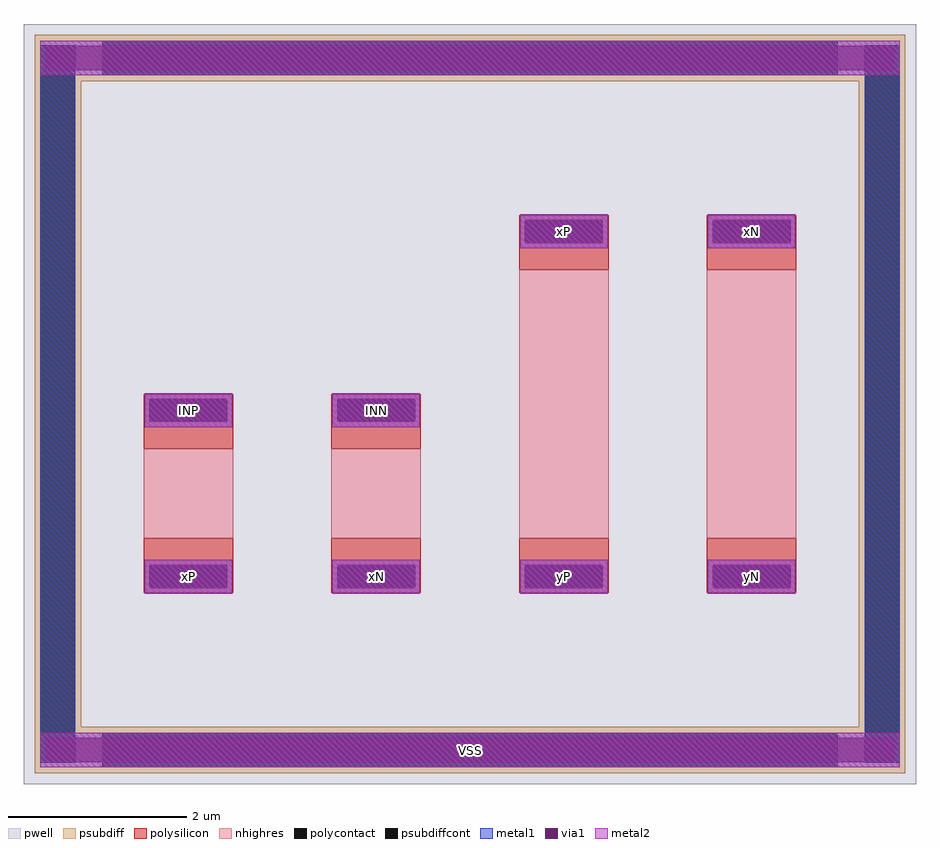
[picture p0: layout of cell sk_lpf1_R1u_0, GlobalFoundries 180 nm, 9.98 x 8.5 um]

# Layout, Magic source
magic
tech gf180mcuD
magscale 1 10
<< pwell >>
rect -368 -464 1628 1236
<< psubdiff >>
rect -344 -440 1604 -336
rect -344 1108 1604 1212
rect -344 -336 -240 1108
rect 1500 -336 1604 1108
<< polysilicon >>
rect -100 286 100 408
rect -100 -36 100 86
rect 320 286 520 408
rect 320 -36 520 86
rect 740 686 940 808
rect 740 -36 940 86
rect 1160 686 1360 808
rect 1160 -36 1360 86
<< nhighres >>
rect -100 86 100 286
rect 320 86 520 286
rect 740 86 940 686
rect 1160 86 1360 686
<< psubdiffcont >>
rect -331 -416 -253 1188
rect 1513 -416 1591 1188
rect -193 1121 1453 1199
rect -193 -427 1453 -349
<< polycontact >>
rect -87 349 87 395
rect -87 -23 87 23
rect 333 349 507 395
rect 333 -23 507 23
rect 753 749 927 795
rect 753 -23 927 23
rect 1173 749 1347 795
rect 1173 -23 1347 23
<< metal1 >>
rect -98 349 98 395
rect -98 -23 98 23
rect 322 349 518 395
rect 322 -23 518 23
rect 742 749 938 795
rect 742 -23 938 23
rect 1162 749 1358 795
rect 1162 -23 1358 23
rect -98 -38 98 38
rect -98 334 98 410
rect 322 -38 518 38
rect 322 334 518 410
rect 742 -38 938 38
rect 742 734 938 810
rect 1162 -38 1358 38
rect 1162 734 1358 810
rect -331 -427 1591 -349
rect -331 1121 1591 1199
rect -331 -427 -253 1199
rect 1513 -427 1591 1199
rect -331 -427 1591 -349
rect -331 1121 1591 1199
<< metal2 >>
rect -98 -38 98 38
rect -98 334 98 410
rect 322 -38 518 38
rect 322 334 518 410
rect 742 -38 938 38
rect 742 734 938 810
rect 1162 -38 1358 38
rect 1162 734 1358 810
rect -331 -427 1591 -349
rect -331 1121 1591 1199
<< via1 >>
rect -86 -26 86 26
rect -86 346 86 398
rect 334 -26 506 26
rect 334 346 506 398
rect 754 -26 926 26
rect 754 746 926 798
rect 1174 -26 1346 26
rect 1174 746 1346 798
rect -319 -415 1579 -361
rect -319 1133 1579 1187
<< labels >>
flabel metal2 s -98 -38 98 38 0 FreeSans 80 0 0 0 xP
port 1 nsew signal bidirectional
flabel metal2 s -98 334 98 410 0 FreeSans 80 0 0 0 INP
port 2 nsew signal bidirectional
flabel metal2 s 322 -38 518 38 0 FreeSans 80 0 0 0 xN
port 3 nsew signal bidirectional
flabel metal2 s 322 334 518 410 0 FreeSans 80 0 0 0 INN
port 4 nsew signal bidirectional
flabel metal2 s 742 -38 938 38 0 FreeSans 80 0 0 0 yP
port 5 nsew signal bidirectional
flabel metal2 s 742 734 938 810 0 FreeSans 80 0 0 0 xP
port 1 nsew signal bidirectional
flabel metal2 s 1162 -38 1358 38 0 FreeSans 80 0 0 0 yN
port 6 nsew signal bidirectional
flabel metal2 s 1162 734 1358 810 0 FreeSans 80 0 0 0 xN
port 3 nsew signal bidirectional
flabel metal2 s -331 -427 1591 -349 0 FreeSans 80 0 0 0 VSS
port 7 nsew signal bidirectional
<< end >>
